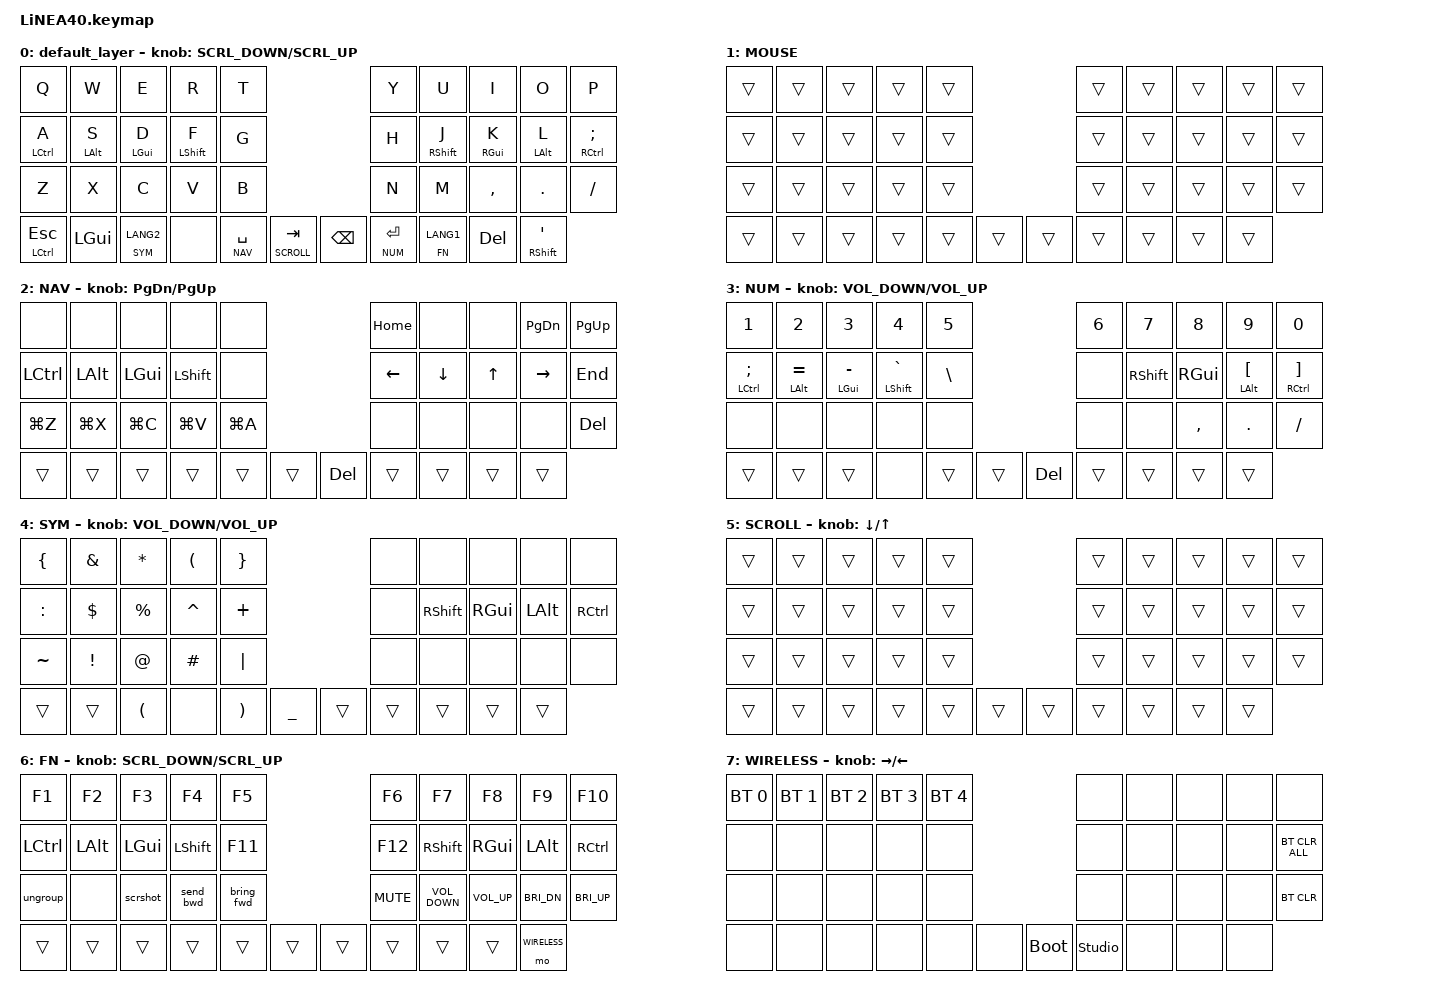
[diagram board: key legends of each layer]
#define ZMK_POINTING_DEFAULT_SCRL_VAL 150

#include <dt-bindings/zmk/input_transform.h>
#include <input/processors.dtsi>
#include <zephyr/dt-bindings/input/input-event-codes.h>
#include <behaviors.dtsi>
#include <dt-bindings/zmk/bt.h>
#include <dt-bindings/zmk/keys.h>
#include <dt-bindings/zmk/pointing.h>

#define MOUSE 1
#define NAV 2
#define NUM 3
#define SYM 4
#define SCROLL 5
#define FN 6
#define WIRELESS 7

// Mouse cursor

&mmv {
    delay-ms = <20>;
    trigger-period-ms = <5>;
    time-to-max-speed-ms = <100>;
    acceleration-exponent = <2>;
};

// Mouse scroll

&msc {
    delay-ms = <3>;
    trigger-period-ms = <3>;
    time-to-max-speed-ms = <100>;
    acceleration-exponent = <0>;
};

/ {
    input_processors {
        zip_wheel_scaler: zip_wheel_scaler {
            compatible = "zmk,input-processor-scaler";
            #input-processor-cells = <2>;
            type = <INPUT_EV_REL>;
            codes = <INPUT_REL_WHEEL>;
            track-remainders;
        };
    };
};

&msc_input_listener {
    speed_up {
        layers = <FN>;
        input-processors = <&zip_wheel_scaler 3 1>;
    };
};

&trackball_listener {
    scroller {
        layers = <SCROLL>;
        input-processors =
            <&zip_xy_transform INPUT_TRANSFORM_Y_INVERT>,
            <&zip_xy_to_scroll_mapper>;
    };
};

/ {
    combos {
        compatible = "zmk,combos";

        Backtick {
            bindings = <&kp GRAVE>;
            key-positions = <1 2>;
        };

        DeleteKey {
            bindings = <&kp DEL>;
            key-positions = <7 8>;
        };

        MouseClick {
            bindings = <&mkp MB1>;
            key-positions = <16 17>;
            layers = <1 2>;
            timeout-ms = <50>;
        };

        MouseRightClick {
            bindings = <&mkp MB2>;
            key-positions = <17 18>;
            layers = <1 2>;
            timeout-ms = <50>;
        };
    };

    macros {
        scrshot: scrshot {
            compatible = "zmk,behavior-macro";
            #binding-cells = <0>;
            bindings
                = <&macro_press &kp LGUI &kp LSHFT &kp LCTRL>
                , <&macro_tap &kp N4>
                , <&macro_release &kp LCTRL &kp LSHFT &kp LGUI>
                ;
        };

        ungroup: ungroup {
            compatible = "zmk,behavior-macro";
            #binding-cells = <0>;
            bindings
                = <&macro_press &kp LGUI &kp LSHFT>
                , <&macro_tap &kp G>
                , <&macro_release &kp LSHFT &kp LGUI>
                ;
        };

        bring_fwd: bring_fwd {
            compatible = "zmk,behavior-macro";
            #binding-cells = <0>;
            bindings
                = <&macro_press &kp LGUI &kp LSHFT>
                , <&macro_tap &kp RBKT>
                , <&macro_release &kp LSHFT &kp LGUI>
                ;
        };

        send_bwd: send_bwd {
            compatible = "zmk,behavior-macro";
            #binding-cells = <0>;
            bindings
                = <&macro_press &kp LGUI &kp LSHFT>
                , <&macro_tap &kp LBKT>
                , <&macro_release &kp LSHFT &kp LGUI>
                ;
        };
    };

    behaviors {
        hm: homerow_mods {
            compatible = "zmk,behavior-hold-tap";
            #binding-cells = <2>;
            tapping-term-ms = <280>;
            quick-tap-ms = <175>;
            require-prior-idle-ms = <150>;
            flavor = "balanced";
            bindings = <&kp>, <&kp>;
        };

        hm_s: homerow_mods_shift {
            compatible = "zmk,behavior-hold-tap";
            #binding-cells = <2>;
            tapping-term-ms = <200>;
            quick-tap-ms = <175>;
            require-prior-idle-ms = <120>;
            flavor = "balanced";
            bindings = <&kp>, <&kp>;
        };

        lt_spc: layer_tap_space {
            compatible = "zmk,behavior-hold-tap";
            #binding-cells = <2>;
            tapping-term-ms = <200>;
            quick-tap-ms = <200>;
            flavor = "tap-preferred";
            bindings = <&mo>, <&kp>;
        };

        re_kp: sensor_rotate_kp {
            compatible = "zmk,behavior-sensor-rotate-var";
            #sensor-binding-cells = <2>;
            bindings = <&kp>, <&kp>;
        };

        mouse_scrl: mouse_wheel_scrl {
            compatible = "zmk,behavior-sensor-rotate-var";
            #sensor-binding-cells = <2>;
            bindings = <&msc>, <&msc>;
            tap-ms = <20>;
        };
    };

    keymap {
        compatible = "zmk,keymap";

        // Layer 0: DEFAULT (QWERTY + Home Row Mods)

        default_layer {
            bindings = <
&kp Q          &kp W     &kp E          &kp R          &kp T                                          &kp Y          &kp U          &kp I      &kp O       &kp P
&hm LCTRL A    &hm LALT S &hm LGUI D    &hm_s LSHFT F  &kp G                                          &kp H          &hm_s RSHFT J  &hm RGUI K &hm LALT L  &hm RCTRL SEMI
&kp Z          &kp X     &kp C          &kp V          &kp B                                          &kp N          &kp M          &kp COMMA  &kp DOT     &kp SLASH
&mt LCTRL ESC  &kp LGUI  &lt SYM LANG2  &none          &lt_spc NAV SPACE  &lt SCROLL TAB  &kp BKSP       &lt NUM ENTER               &lt FN LANG1   &kp DEL        &mt RSHFT SQT
            >;

            sensor-bindings = <&mouse_scrl SCRL_DOWN SCRL_UP>;
        };

        // Layer 1: MOUSE (auto-activated by trackball)
        // All transparent - automouse only enables trackball cursor, no click buttons
        // Use NAV layer (Space hold) for snipe + U(MB1)/I(MB2) clicking

        MOUSE {
            bindings = <
&trans  &trans  &trans  &trans  &trans                    &trans  &trans  &trans  &trans  &trans
&trans  &trans  &trans  &trans  &trans                    &trans  &trans    &trans    &trans  &trans
&trans  &trans  &trans  &trans  &trans                    &trans  &trans    &trans    &trans  &trans
&trans  &trans  &trans  &trans  &trans  &trans    &trans  &trans            &trans    &trans  &trans
            >;
        };

        // Layer 2: NAV (hold Space)
        // Left: explicit modifiers for Shift+Arrow etc. + Cmd clipboard
        // Right: navigation cluster (arrows, PgUp/Dn, Home/End)
        // Trackball: snipe mode (slow/precise)

        NAV {
            bindings = <
&none      &none      &none      &none      &none                          &kp HOME  &none      &none     &kp PG_DN  &kp PG_UP
&kp LCTRL  &kp LALT   &kp LGUI   &kp LSHFT  &none                          &kp LEFT  &kp DOWN   &kp UP    &kp RIGHT  &kp END
&kp LG(Z)  &kp LG(X)  &kp LG(C)  &kp LG(V)  &kp LG(A)                      &none     &none      &none     &none      &kp DEL
&trans     &trans     &trans     &trans     &trans      &trans    &kp DEL  &trans                &trans    &trans     &trans
            >;

            sensor-bindings = <&re_kp PG_DN PG_UP>;
        };

        // Layer 3: NUM (hold Enter pos37)
        // Top: numbers, Home: symbols with hold-tap modifiers
        // Backspace position -> Delete, comma/dot same as Layer 0

        NUM {
            bindings = <
&kp N1              &kp N2           &kp N3           &kp N4              &kp N5                             &kp N6  &kp N7     &kp N8     &kp N9          &kp N0
&hm LCTRL SEMI      &hm LALT EQUAL   &hm LGUI MINUS   &hm_s LSHFT GRAVE   &kp BSLH                           &none   &kp RSHFT  &kp RGUI   &hm LALT LBKT   &hm RCTRL RBKT
&none               &none            &none            &none               &none                              &none   &none      &kp COMMA  &kp DOT         &kp SLASH
&trans              &trans           &trans           &none               &trans     &trans    &kp DEL       &trans              &trans     &trans          &trans
            >;

            sensor-bindings = <&re_kp C_VOLUME_DOWN C_VOLUME_UP>;
        };

        // Layer 4: SYM (hold 英数 pos32)
        // Left: shifted symbols, Right: explicit modifiers

        SYM {
            bindings = <
&kp LBRC   &kp AMPS  &kp ASTRK  &kp LPAR   &kp RBRC                          &none   &none      &none     &none     &none
&kp COLON  &kp DLLR  &kp PRCNT  &kp CARET  &kp PLUS                          &none   &kp RSHFT  &kp RGUI  &kp LALT  &kp RCTRL
&kp TILDE  &kp EXCL  &kp AT     &kp HASH   &kp PIPE                          &none   &none      &none     &none     &none
&trans     &trans    &kp LPAR   &none      &kp RPAR   &kp UNDER  &trans     &trans              &trans    &trans    &trans
            >;

            sensor-bindings = <&re_kp C_VOLUME_DOWN C_VOLUME_UP>;
        };

        // Layer 5: SCROLL (hold Tab)
        // All transparent - trackball XY->scroll conversion via input processor

        SCROLL {
            bindings = <
&trans  &trans  &trans  &trans  &trans                    &trans  &trans  &trans  &trans  &trans
&trans  &trans  &trans  &trans  &trans                    &trans  &trans  &trans  &trans  &trans
&trans  &trans  &trans  &trans  &trans                    &trans  &trans  &trans  &trans  &trans
&trans  &trans  &trans  &trans  &trans  &trans    &trans  &trans          &trans  &trans  &trans
            >;

            sensor-bindings = <&inc_dec_kp DOWN_ARROW UP_ARROW>;
        };

        // Layer 6: FN (hold left Enter)
        // Function keys + media + screenshot macro
        // MO(WIRELESS) on pos40 for BT management

        FN {
            bindings = <
&kp F1     &kp F2    &kp F3    &kp F4     &kp F5                           &kp F6      &kp F7             &kp F8            &kp F9    &kp F10
&kp LCTRL  &kp LALT  &kp LGUI  &kp LSHFT  &kp F11                          &kp F12     &kp RSHFT          &kp RGUI          &kp LALT  &kp RCTRL
&ungroup   &none     &scrshot  &send_bwd  &bring_fwd                       &kp C_MUTE  &kp C_VOLUME_DOWN  &kp C_VOLUME_UP   &kp C_BRI_DN  &kp C_BRI_UP
&trans     &trans    &trans    &trans     &trans     &trans    &trans      &trans                         &trans            &trans    &mo WIRELESS
            >;

            sensor-bindings = <&mouse_scrl SCRL_DOWN SCRL_UP>;
        };

        // Layer 7: WIRELESS (momentary from FN layer via pos40)
        // Bluetooth profile selection, clear, bootloader

        WIRELESS {
            bindings = <
&bt BT_SEL 0  &bt BT_SEL 1  &bt BT_SEL 2  &bt BT_SEL 3  &bt BT_SEL 4                         &none           &none  &none  &none  &none
&none         &none         &none         &none         &none                                &none           &none  &none  &none  &bt BT_CLR_ALL
&none         &none         &none         &none         &none                                &none           &none  &none  &none  &bt BT_CLR
&none         &none         &none         &none         &none         &none    &bootloader  &studio_unlock         &none  &none  &none
            >;

            sensor-bindings = <&inc_dec_kp RIGHT_ARROW LEFT_ARROW>;
        };
    };
};
